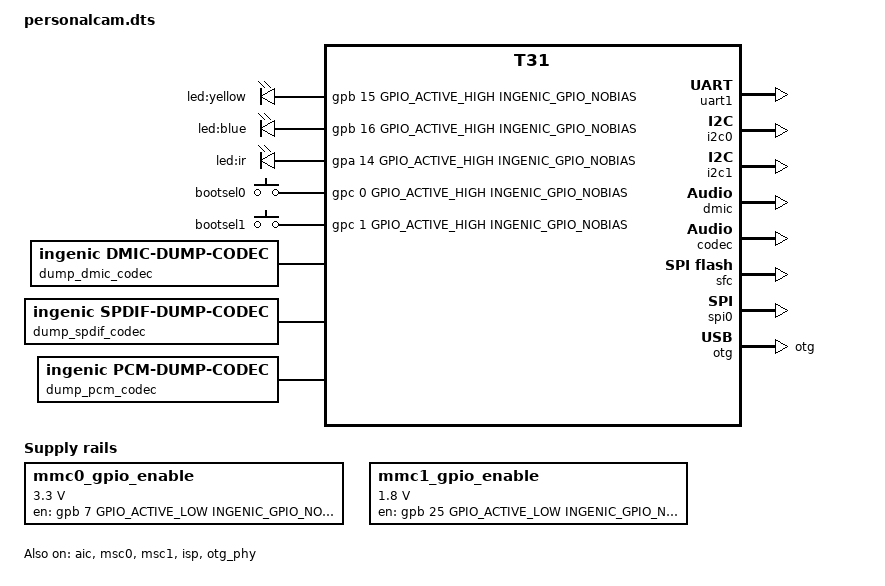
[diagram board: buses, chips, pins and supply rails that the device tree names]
/dts-v1/;

#include <dt-bindings/input/input.h>
#include "t31.dtsi"
#include <dt-bindings/interrupt-controller/irq.h>
#include <dt-bindings/leds/common.h>
#include <dt-bindings/gpio/gpio.h>

/ {
	compatible = "generic,personalcam", "ingenic,t31";
};

&uart0 {
	status = "disabled";
};

&uart1 {
	status = "okay";
	pinctrl-names = "default";
	pinctrl-0 = <&uart1_pb>;
};

&uart2 {
	status = "disabled";
};

&i2c0 {
	pinctrl-0 = <&i2c0_pa>;
	pinctrl-names = "default";
	status = "okay";
};

&i2c1 {
	pinctrl-0 = <&i2c1_pa>;
	pinctrl-names = "default";
	status = "okay";
};

&aic {
	status = "okay";
};

&dmic {
	status = "okay";
};

&codec {
	status = "okay";
};

&cpufreq {
	status = "okay";
	operating-points = <
		/*KHZ uV */
		1200000	900000
		750000	900000
		600000	900000
		500000	900000
		400000	900000
		375000	900000
		300000	900000
		200000	900000
			>;

};

//&pwm {
//	ingenic,pwm-outputs = <0>; /* <0 - 15> select which pwms are really used */
//}

&pdma {
	status = "okay";
};

&msc0 {
	status = "okay";
	pinctrl-names = "default";

	cap-mmc-highspeed;
	cap-sd-highspeed;
	max-frequency = <48000000>;
	bus-width = <4>;
	voltage-ranges = <3200 3400>;
	cd-inverted;

	ingenic,removal-removable = <1>;
	/* special property */
	ingenic,wp-gpios = <0>;
	ingenic,cd-gpios = <&gpb 27 GPIO_ACTIVE_LOW INGENIC_GPIO_NOBIAS>;
	ingenic,rst-gpios = <0>;
	pinctrl-0 = <&msc0_pb>;
};

&msc1 {
	status = "okay";
	pinctrl-names = "default";
	/*mmc-hs200-1_8v;*/
	cap-mmc-highspeed;
	max-frequency = <24000000>;
	bus-width = <4>;
	voltage-ranges = <2900 3100>;

	//ingenic,sdio_clk = <24000000>;

	ingenic,removal-dontcare = <1>;
	/* special property */
	//ingenic,sdio-reset = <&gpb 25 GPIO_ACTIVE_LOW INGENIC_GPIO_NOBIAS>;
	ingenic,wp-gpios = <0>;
	ingenic,rst-gpios = <0>;
	pinctrl-0 = <&msc1_pb>;
};

&mac0 {
	status = "disable";
};

&sfc {
	status = "okay";
    pinctrl-names = "default";
	ingenic,sfc-max-frequency = <50000000>;
	ingenic,use_board_info      = /bits/ 8 <0>;
	ingenic,spiflash_param_offset = <0>;
	pinctrl-0 = <&sfc_pa>;
};

&spi0 {
	status = "okay";
	pinctrl-names = "default";
	pinctrl-0 = <&spi0_pc>;

	spi-max-frequency = <48000000>;
	num-cs = <2>;
	cs-gpios = <0>, <0>;
	ingenic,chnl = <0>;
	ingenic,allow_cs_same = <1>;
	ingenic,bus_num = <0>;
	ingenic,has_dma_support = <1>;
};

&isp {
	status = "okay";
};

&otg {
	g-use-dma;
	dr_mode = "otg";
	status = "okay";
};

&otg_phy {
	dr_mode = "otg";
	compatible = "ingenic,innophy", "syscon";
	ingenic,drvvbus-gpio = <&gpb 6 GPIO_ACTIVE_HIGH INGENIC_GPIO_NOBIAS>;
	status = "okay";
};

/ {
	mmc0_gpio_enable: mmc0-dummy-fixed-reg {
		status = "okay";
		compatible = "regulator-fixed";

		regulator-name = "mmc0-gpio-enable";
		regulator-min-microvolt = <3300000>;
		regulator-max-microvolt = <3300000>;
		regulator-boot-on;
		regulator-always-on;

		gpio = <&gpb 7 GPIO_ACTIVE_LOW INGENIC_GPIO_NOBIAS>;

		startup-delay-us = <100000>;
	};

	mmc1_gpio_enable: mmc1-dummy-fixed-reg {
		status = "okay";
		compatible = "regulator-fixed";

		regulator-name = "mmc1-gpio-enable";
		regulator-min-microvolt = <1800000>;
		regulator-max-microvolt = <1800000>;
		regulator-boot-on;
		regulator-always-on;
		enable-active-high;

		gpio = <&gpb 25 GPIO_ACTIVE_LOW INGENIC_GPIO_NOBIAS>;

		startup-delay-us = <100000>;
	};

	leds-gpios {
		compatible = "gpio-leds";
		status = "okay";

		yellow {
			label = "led:yellow";
			gpios = <&gpb 15 GPIO_ACTIVE_HIGH INGENIC_GPIO_NOBIAS>;
			linux,default-trigger = "heartbeat";
		};

		blue {
			label = "led:blue";
			gpios = <&gpb 16 GPIO_ACTIVE_HIGH INGENIC_GPIO_NOBIAS>;
			default-state = "on";
		};

		ir {
			label = "led:ir";
			gpios = <&gpa 14 GPIO_ACTIVE_HIGH INGENIC_GPIO_NOBIAS>;
			default-state = "off";
		};
	};

	extclk: extclk {
		clock-frequency = <24000000>;
	};

	gpio_keys: gpio_keys {
		compatible = "gpio-keys";

		bootsel0 {
			label = "bootsel0";
			linux,code = <KEY_HOME>;
			gpios = <&gpc 0 GPIO_ACTIVE_HIGH INGENIC_GPIO_NOBIAS>;
		};

		bootsel1 {
			label = "bootsel1";
			linux,code = <KEY_BACK>;
			gpios = <&gpc 1 GPIO_ACTIVE_HIGH INGENIC_GPIO_NOBIAS>;
		};

	};

	dump_dmic_codec:dump_dmic_codec{
		compatible = "ingenic,dmic-dump-codec";
		status = "ok";
	};
	dump_spdif_codec:dump_spdif_codec{
		compatible = "ingenic,spdif-dump-codec";
		status = "ok";
	};
	dump_pcm_codec:dump_pcm_codec{
		compatible = "ingenic,pcm-dump-codec";
		status = "ok";
	};

	/*sound {
		compatible = "simple-audio-card";

		status = "okay";

		simple-audio-card,name = "t31-sound-thing";
		simple-audio-card,format = "i2s";

		simple-audio-card,widgets =
			"Speaker", "Speaker",
			"Microphone", "Mic Buildin",
			"Microphone", "DMic";
		simple-audio-card,routing =
			"Microphone", "DMic";
		//simple-audio-card,pin-switches = "Speaker";

		//simple-audio-card,hp-det-gpio = <&gpd 16 GPIO_ACTIVE_LOW>;
		//simple-audio-card,aux-devs = <&amp>;

		simple-audio-card,bitclock-master = <&dai_dmic_codec>;
		simple-audio-card,frame-master = <&dai_dmic_codec>;

		dai_cpu: simple-audio-card,cpu {
			sound-dai = <&i2s0>;
		};

		dai_dmic_codec: simple-audio-card,codec {
			sound-dai = <&dmic>;
		};

	};*/
	sound_t31_internal_codec {
		status = "ok";
		compatible = "ingenic,t31-sound";
		ingenic,model = "t31";

		ingenic,dai-link = "i2s-icdc", "dmic";
		ingenic,stream = "Playback", "Capture";
		ingenic,cpu-dai = <&i2s0>, <&dmic>;
		ingenic,platform = <&aic>, <&dmic>;
		ingenic,codec = <&codec>, <&dump_dmic_codec>;
		ingenic,codec-dai = "icdc-d3-hifi", "dmic-dump";
		ingenic,audio-routing = "Speaker", "SPK",
			"DMIC", "DMic";
		//ingenic,spken-gpio = <&gpb 0 GPIO_ACTIVE_LOW INGENIC_GPIO_NOBIAS>;
	};
};
